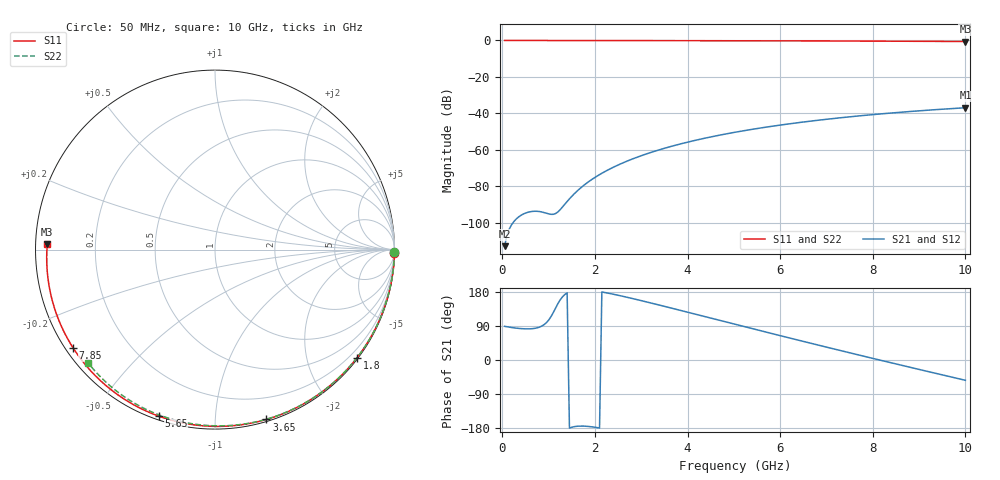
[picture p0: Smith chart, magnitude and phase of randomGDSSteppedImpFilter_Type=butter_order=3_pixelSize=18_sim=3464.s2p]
! freq	dB(S11)	phase(S11)	dB(S12)	phase(S12)
!  dB(S21)	phase(S21)	dB(S22)	phase(S22)
!S-par simulation data
#  GHz  S  DB  R 50
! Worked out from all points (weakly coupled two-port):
!   200 points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, 50 MHz to 10 GHz, reference 50 ohm
!   highest |S21| = -36.87 dB at 10 GHz (marker M1); lowest = -112.7 dB at 50 MHz (marker M2)
!   lowest |S11| = -0.6 dB at 10 GHz (marker M3), VSWR 29.77, Z = 1.68 + j0.858 ohm
!   |S11| at or under -10 dB: nowhere
!   |S22| runs from -0.5 to 0.0 dB; largest |S21 - S12| = 0
!   S11 on the Smith chart (normalised r, x): 50 MHz: open; 1.8 GHz: 0.03, -2.97; 3.65 GHz: 0.02, -1.35; 5.65 GHz: 0.02, -0.72; 7.85 GHz: 0.02, -0.31; 10 GHz: 0.03, +0.02
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0.05  -0.00 -1.1  -112.71 88.8  -112.71 88.8  -0.00 -0.8
0.45  -0.01 -9.5  -95.15 82.5  -95.15 82.5  -0.01 -7.2
0.85  -0.02 -17.8  -93.95 89.3  -93.95 89.3  -0.02 -13.5
1.25  -0.03 -26.1  -92.72 158.7  -92.72 158.7  -0.02 -19.8
1.7  -0.04 -35.3  -80.62 -174.4  -80.62 -174.4  -0.03 -26.8
1.75  -0.05 -36.3  -79.58 -174.5  -79.58 -174.5  -0.04 -27.6
1.8  -0.05 -37.3  -78.59 -174.8  -78.59 -174.8  -0.04 -28.4
2.1  -0.06 -43.3  -73.50 -179.4  -73.50 -179.4  -0.04 -33.0
2.5  -0.07 -51.2  -68.25 170.9  -68.25 170.9  -0.05 -39.1
2.9  -0.08 -59.0  -64.07 159.7  -64.07 159.7  -0.06 -45.1
3.4  -0.09 -68.5  -59.83 144.7  -59.83 144.7  -0.07 -52.5
3.65  -0.10 -73.2  -58.01 137.0  -58.01 137.0  -0.08 -56.2
4.35  -0.12 -85.9  -53.68 115.3  -53.68 115.3  -0.09 -66.2
5.05  -0.15 -98.3  -50.18 93.6  -50.18 93.6  -0.12 -75.9
5.65  -0.18 -108.7  -47.67 75.0  -47.67 75.0  -0.14 -84.0
6.15  -0.21 -117.1  -45.84 59.7  -45.84 59.7  -0.16 -90.7
6.7  -0.25 -126.3  -44.07 43.0  -44.07 43.0  -0.19 -97.8
7.3  -0.29 -136.2  -42.36 25.0  -42.36 25.0  -0.23 -105.4
7.85  -0.34 -145.3  -40.98 8.7  -40.98 8.7  -0.26 -112.3
8.35  -0.39 -153.6  -39.85 -6.0  -39.85 -6.0  -0.30 -118.4
9.2  -0.48 -167.9  -38.18 -30.7  -38.18 -30.7  -0.38 -128.7
10  -0.58 178.0  -36.87 -53.5  -36.87 -53.5  -0.47 -138.4
